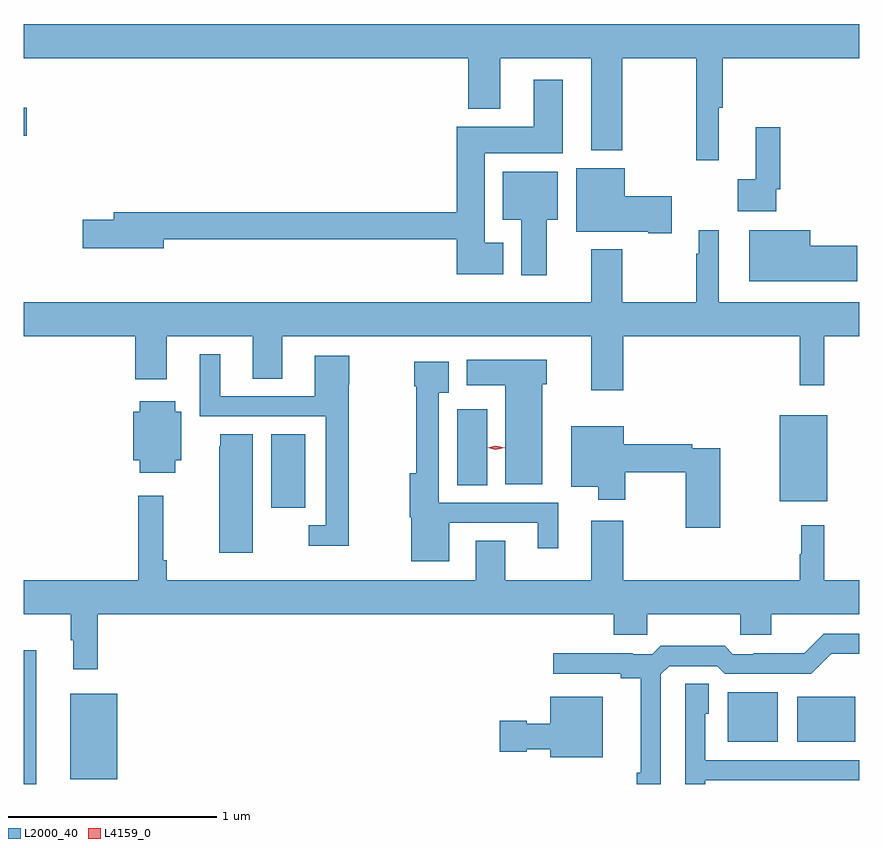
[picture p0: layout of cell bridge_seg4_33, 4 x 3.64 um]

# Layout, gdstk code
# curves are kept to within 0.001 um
import gdstk
lib = gdstk.Library(unit=1e-6, precision=1e-09)
def R(c, l, rs):  # rectangles x0, y0, x1, y1
    for r in rs: c.add(gdstk.rectangle(r[:2], r[2:], *l))
def P(c, l, *ps):  # polygons
    for p in ps: c.add(gdstk.Polygon(p, *l))
L2000_40 = (2000, 40)
L4159_0 = (4159, 0)

bridge_seg4_33 = lib.new_cell('bridge_seg4_33')
R(bridge_seg4_33, L2000_40, [(791.094,827.976,791.152,828.616), (791.315,827.999,791.542,828.409), (794.465,828.179,794.704,828.415), (794.798,828.179,795.076,828.394), (792.278,829.299,792.442,829.652), (794.714,829.331,794.941,829.741), (793.169,829.408,793.312,829.771), (791.094,831.08,791.107,831.214)])
P(bridge_seg4_33, L2000_40, [(794.423,831.216),(794.441,831.216),(794.441,831.452),(795.094,831.452),(795.094,831.616),(791.094,831.616),(791.094,831.452),(793.223,831.452),(793.223,831.209),(793.375,831.209),(793.375,831.452),(793.811,831.452),(793.811,831.011),(793.959,831.011),(793.959,831.452),(794.313,831.452),(794.313,830.964),(794.423,830.964)],
  [(793.39,830.569),(793.3,830.569),(793.3,830.996),(793.675,830.996),(793.675,831.349),(793.535,831.349),(793.535,831.124),(793.166,831.124),(793.166,830.714),(791.525,830.714),(791.525,830.678),(791.376,830.678),(791.376,830.543),(791.764,830.543),(791.764,830.586),(793.166,830.586),(793.166,830.417),(793.39,830.417)],
  [(794.697,830.824),(794.717,830.824),(794.717,831.121),(794.6,831.121),(794.6,830.873),(794.514,830.873),(794.514,830.72),(794.697,830.72)],
  [(794.197,830.792),(793.972,830.792),(793.972,830.926),(793.739,830.926),(793.739,830.621),(794.084,830.621),(794.084,830.614),(794.197,830.614)],
  [(793.597,830.678),(793.651,830.678),(793.651,830.908),(793.388,830.908),(793.388,830.678),(793.475,830.678),(793.475,830.412),(793.597,830.412)],
  [(795.085,830.555),(794.86,830.555),(794.86,830.629),(794.567,830.629),(794.567,830.384),(795.085,830.384)],
  [(793.964,830.12),(794.809,830.12),(794.809,829.887),(794.927,829.887),(794.927,830.12),(795.094,830.12),(795.094,830.284),(794.422,830.284),(794.422,830.629),(794.325,830.629),(794.325,830.516),(794.313,830.516),(794.313,830.284),(793.959,830.284),(793.959,830.536),(793.811,830.536),(793.811,830.284),(791.094,830.284),(791.094,830.12),(791.627,830.12),(791.627,829.914),(791.779,829.914),(791.779,830.12),(792.191,830.12),(792.191,829.918),(792.331,829.918),(792.331,830.12),(793.811,830.12),(793.811,829.863),(793.964,829.863)],
  [(792.649,829.89),(792.652,829.89),(792.652,830.026),(792.488,830.026),(792.488,829.833),(792.034,829.833),(792.034,830.035),(791.936,830.035),(791.936,829.737),(792.54,829.737),(792.54,829.215),(792.459,829.215),(792.459,829.118),(792.649,829.118)],
  [(793.576,829.89),(793.597,829.89),(793.597,830.008),(793.214,830.008),(793.214,829.886),(793.4,829.886),(793.4,829.412),(793.576,829.412)],
  [(793.132,829.227),(793.556,829.227),(793.556,829.104),(793.654,829.104),(793.654,829.323),(793.08,829.323),(793.08,829.851),(793.129,829.851),(793.129,829.999),(792.964,829.999),(792.964,829.881),(792.972,829.881),(792.972,829.465),(792.943,829.465),(792.943,829.254),(792.95,829.254),(792.95,829.043),(793.132,829.043)],
  [(791.818,829.526),(791.848,829.526),(791.848,829.759),(791.818,829.759),(791.818,829.81),(791.648,829.81),(791.648,829.759),(791.618,829.759),(791.618,829.526),(791.648,829.526),(791.648,829.466),(791.818,829.466)],
  [(794.428,829.584),(794.294,829.584),(794.294,829.604),(793.966,829.604),(793.966,829.69),(793.715,829.69),(793.715,829.4),(793.844,829.4),(793.844,829.338),(793.974,829.338),(793.974,829.468),(794.263,829.468),(794.263,829.203),(794.428,829.203)],
  [(792.19,829.652),(792.035,829.652),(792.035,829.593),(792.029,829.593),(792.029,829.083),(792.19,829.083)],
  [(791.447,828.788),(793.919,828.788),(793.919,828.69),(794.079,828.69),(794.079,828.788),(794.524,828.788),(794.524,828.69),(794.674,828.69),(794.674,828.788),(795.094,828.788),(795.094,828.952),(794.927,828.952),(794.927,829.216),(794.817,829.216),(794.817,829.076),(794.809,829.076),(794.809,828.952),(793.964,828.952),(793.964,829.237),(793.811,829.237),(793.811,828.952),(793.399,828.952),(793.399,829.142),(793.259,829.142),(793.259,828.952),(791.777,828.952),(791.777,829.048),(791.762,829.048),(791.762,829.357),(791.641,829.357),(791.641,828.952),(791.094,828.952),(791.094,828.788),(791.319,828.788),(791.319,828.665),(791.33,828.665),(791.33,828.525),(791.447,828.525)],
  [(794.145,828.501),(794.184,828.54),(794.415,828.54),(794.451,828.504),(794.865,828.504),(794.96,828.599),(795.094,828.6),(795.094,828.696),(794.925,828.696),(794.831,828.602),(794.59,828.602),(794.59,828.597),(794.49,828.597),(794.451,828.637),(794.143,828.637),(794.103,828.597),(794.009,828.597),(794.009,828.602),(793.629,828.602),(793.629,828.504),(793.952,828.504),(793.952,828.482),(794.048,828.482),(794.048,828.031),(794.029,828.031),(794.029,827.976),(794.145,827.976)],
  [(794.358,827.993),(794.675,827.993),(794.675,827.994),(795.094,827.994),(795.094,828.09),(794.358,828.09),(794.358,828.312),(794.374,828.312),(794.374,828.455),(794.262,828.455),(794.262,827.976),(794.358,827.976)],
  [(793.867,828.394),(793.616,828.394),(793.616,828.265),(793.503,828.265),(793.503,828.278),(793.374,828.278),(793.374,828.131),(793.503,828.131),(793.503,828.143),(793.616,828.143),(793.616,828.104),(793.867,828.104)])
P(bridge_seg4_33, L4159_0, [(793.355,829.577),(793.315,829.587),(793.315,829.587),(793.315,829.587),(793.355,829.597),(793.396,829.587),(793.396,829.587),(793.396,829.587)])

lib.write_gds('bridge_seg4_33.gds')
